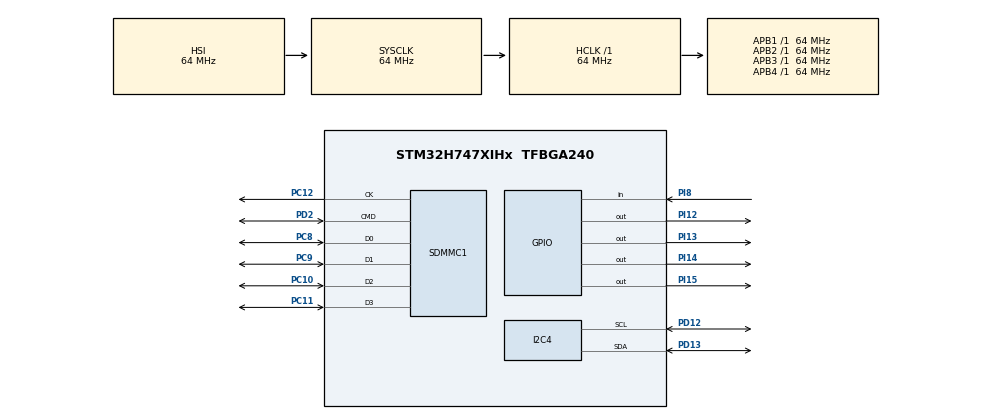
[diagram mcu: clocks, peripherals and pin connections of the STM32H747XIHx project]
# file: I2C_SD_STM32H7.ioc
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CortexM4.IPs=BDMA,DMA,FATFS_M4\:I,FREERTOS_M4\:I,IWDG2\:I,MDMA,NVIC2\:I,RCC,USB_DEVICE_M4\:I,USB_HOST_M4\:I,WWDG2\:I,ADC1\:I,DCMI\:I,TIM3\:I,DEBUG,PDM2PCM_M4\:I,PWR,RESMGR_UTILITY,SYS_M4\:I,CORTEX_M4\:I,OPENAMP_M4\:I,VREFBUF
CortexM4.Pins=PI12,PI13
CortexM7.IPs=BDMA\:I,DMA\:I,FATFS_M7\:I,FREERTOS_M7\:I,IWDG1\:I,MDMA\:I,NVIC1\:I,RCC\:I,USB_DEVICE_M7\:I,USB_HOST_M7\:I,WWDG1\:I,CORTEX_M7\:I,DEBUG\:I,PDM2PCM_M7\:I,PWR\:I,RESMGR_UTILITY\:I,SYS\:I,OPENAMP_M7\:I,VREFBUF\:I,I2C1\:I,I2C4\:I,I2C2\:I,I2C3\:I,SDMMC1\:I
CortexM7.Pins=PI14,PI15
FATFS.BSP.number=1
FATFS0.BSP.STBoard=false
FATFS0.BSP.api=Unknown
FATFS0.BSP.i2caddr=0
FATFS0.BSP.instance=PI8
FATFS0.BSP.ip=GPIO
FATFS0.BSP.mode=Input
FATFS0.BSP.name=Detect_SDIO
FATFS0.BSP.solution=PI8
FATFS_M7.USE_DMA_CODE_SD=1
I2C4.Speed=50
I2C4.Timing=0x403032CA
Mcu.Family=STM32H7
Mcu.Name=STM32H747XIHx
Mcu.Package=TFBGA240
NVIC1.PriorityGroup=NVIC_PRIORITYGROUP_4
NVIC1.SDMMC1_IRQn=true\:0\:0\:false\:false\:true\:true\:true
NVIC2.PriorityGroup=NVIC_PRIORITYGROUP_4
PC10.Mode=SD_4_bits_Wide_bus
PC10.PinAttribute=CortexM7
PC10.Signal=SDMMC1_D2
PC11.Mode=SD_4_bits_Wide_bus
PC11.PinAttribute=CortexM7
PC11.Signal=SDMMC1_D3
PC12.Mode=SD_4_bits_Wide_bus
PC12.PinAttribute=CortexM7
PC12.Signal=SDMMC1_CK
PC8.Mode=SD_4_bits_Wide_bus
PC8.PinAttribute=CortexM7
PC8.Signal=SDMMC1_D0
PC9.Mode=SD_4_bits_Wide_bus
PC9.PinAttribute=CortexM7
PC9.Signal=SDMMC1_D1
PD12.GPIO_Pu=GPIO_PULLUP
PD12.Mode=I2C
PD12.PinAttribute=CortexM7
PD12.Signal=I2C4_SCL
PD13.GPIO_Pu=GPIO_PULLUP
PD13.Mode=I2C
PD13.PinAttribute=CortexM7
PD13.Signal=I2C4_SDA
PD2.Mode=SD_4_bits_Wide_bus
PD2.PinAttribute=CortexM7
PD2.Signal=SDMMC1_CMD
PH0-OSC_IN\ (PH0).Mode=HSE-External-Oscillator
PH0-OSC_IN\ (PH0).PinAttribute=CortexM7
PH0-OSC_IN\ (PH0).Signal=RCC_OSC_IN
PH1-OSC_OUT\ (PH1).Mode=HSE-External-Oscillator
PH1-OSC_OUT\ (PH1).PinAttribute=CortexM7
PH1-OSC_OUT\ (PH1).Signal=RCC_OSC_OUT
PI12.PinAttribute=CortexM4
PI12.Signal=GPIO_Output
PI13.PinAttribute=CortexM4
PI13.Signal=GPIO_Output
PI14.PinAttribute=CortexM7
PI14.Signal=GPIO_Output
PI15.PinAttribute=CortexM7
PI15.Signal=GPIO_Output
PI8.PinAttribute=Free
PI8.Signal=GPIO_Input
ProjectManager.HeapSize=M4-0x400,M7-0x400
ProjectManager.StackSize=M4-0x800,M7-0x800
ProjectManager.TargetToolchain=STM32CubeIDE
RCC.ADCFreq_Value=75000000
RCC.APB1Freq_Value=64000000
RCC.APB2Freq_Value=64000000
RCC.APB3Freq_Value=64000000
RCC.APB4Freq_Value=64000000
RCC.CortexFreq_Value=64000000
RCC.DIVM1=2
RCC.DIVM2=2
RCC.DIVN1=12
RCC.DIVN2=12
RCC.DIVQ1=1
RCC.DIVR2=1
RCC.HCLKFreq_Value=64000000
RCC.HSE_VALUE=25000000
RCC.PLL2FRACN=0
RCC.PLLFRACN=0
RCC.PLLSourceVirtual=RCC_PLLSOURCE_HSE
RCC.PWR_Regulator_Voltage_Scale=PWR_REGULATOR_VOLTAGE_SCALE1
RCC.SDMMC1CLockSelection=RCC_SDMMCCLKSOURCE_PLL2
RCC.SYSCLKFreq_VALUE=64000000
RCC.SupplySource=PWR_DIRECT_SMPS_SUPPLY
RCC.USBFreq_Value=150000000
VP_FATFS_M7_VS_SDIO.Mode=SDIO
VP_SYS_M4_VS_Systick.Mode=SysTick
board=STM32H747I-DISCO

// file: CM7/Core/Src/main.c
/* USER CODE BEGIN Header */
/**
  ******************************************************************************
  * @file           : main.c
  * @brief          : Main program body
  ******************************************************************************
  * @attention
  *
  * <h2><center>&copy; Copyright (c) 2021 STMicroelectronics.
  * All rights reserved.</center></h2>
  *
  * This software component is licensed by ST under BSD 3-Clause license,
  * the "License"; You may not use this file except in compliance with the
  * License. You may obtain a copy of the License at:
  *                        opensource.org/licenses/BSD-3-Clause
  *
  ******************************************************************************
  */
/* USER CODE END Header */
#include "main.h"
#include "fatfs.h"

/* USER CODE BEGIN PD */

#ifndef HSEM_ID_0
#define HSEM_ID_0 (0U) /* HW semaphore 0*/
#endif
/* USER CODE END PD */

I2C_HandleTypeDef hi2c4;

SD_HandleTypeDef hsd1;

void SystemClock_Config(void);
static void MX_GPIO_Init(void);
static void MX_I2C4_Init(void);
static void MX_SDMMC1_SD_Init(void);

/* USER CODE BEGIN 0 */

uint8_t i2c_conf[2];
uint8_t i2c_data[14];
uint8_t address;

int16_t temp_raw=0;
float temp=0;

int16_t acc_x_raw=0;
int16_t acc_y_raw=0;
int16_t acc_z_raw=0;

float acc_x=0;
float acc_y=0;
float acc_z=0;

int16_t gyro_x_raw=0;
int16_t gyro_y_raw=0;
int16_t gyro_z_raw=0;

float gyro_x=0;
float gyro_y=0;
float gyro_z=0;

char str2[42]=" ";
char str3[4200]=" ";

int size=0;
int i=0;
int j=0;

int iter=0;

void GY_init(void)
{

	 if(HAL_I2C_IsDeviceReady(&hi2c4, 0xD0, 2, 10)==HAL_OK)//check status
	  {
		 //config
		 i2c_conf[0]=0x6B;//register to be written on
		 i2c_conf[1]=0x00;// what we want to write to make it clear (CH) . This makes the MPU-6050 to start
		 HAL_I2C_Master_Transmit(&hi2c4, 0xD0, i2c_conf, 2, 10);
	  }

}

/* USER CODE END 0 */

int main(void)
{
  /* USER CODE BEGIN 1 */

	FRESULT res; /* FatFs function common result code */
	uint32_t byteswritten, bytesread; /* File write/read counts */
	uint8_t rtext[_MAX_SS];/* File read buffer */

  /* USER CODE END 1 */
/* USER CODE BEGIN Boot_Mode_Sequence_0 */
  int32_t timeout;
/* USER CODE END Boot_Mode_Sequence_0 */

/* USER CODE BEGIN Boot_Mode_Sequence_1 */
  /* Wait until CPU2 boots and enters in stop mode or timeout*/
  timeout = 0xFFFF;
  while((__HAL_RCC_GET_FLAG(RCC_FLAG_D2CKRDY) != RESET) && (timeout-- > 0));
  if ( timeout < 0 )
  {
  Error_Handler();
  }
/* USER CODE END Boot_Mode_Sequence_1 */
  /* MCU Configuration--------------------------------------------------------*/

  /* Reset of all peripherals, Initializes the Flash interface and the Systick. */
  HAL_Init();

  /* Configure the system clock */
  SystemClock_Config();
/* USER CODE BEGIN Boot_Mode_Sequence_2 */
/* When system initialization is finished, Cortex-M7 will release Cortex-M4 by means of
HSEM notification */
/*HW semaphore Clock enable*/
__HAL_RCC_HSEM_CLK_ENABLE();
/*Take HSEM */
HAL_HSEM_FastTake(HSEM_ID_0);
/*Release HSEM in order to notify the CPU2(CM4)*/
HAL_HSEM_Release(HSEM_ID_0,0);
/* wait until CPU2 wakes up from stop mode */
timeout = 0xFFFF;
while((__HAL_RCC_GET_FLAG(RCC_FLAG_D2CKRDY) == RESET) && (timeout-- > 0));
if ( timeout < 0 )
{
Error_Handler();
}
/* USER CODE END Boot_Mode_Sequence_2 */

  /* Initialize all configured peripherals */
  MX_GPIO_Init();
  MX_I2C4_Init();
  MX_SDMMC1_SD_Init();
  MX_FATFS_Init();
  /* USER CODE BEGIN 2 */

  GY_init();

  if(f_mount(&SDFatFS, (TCHAR const*)SDPath, 0) == FR_OK)
  {
	  //Formating
	  if(f_mkfs((TCHAR const*)SDPath, FM_ANY, 0, rtext, sizeof(rtext)) == FR_OK)
	  {

		  //Open file for writing (Create)
		  if(f_open(&SDFile, "STM32.TXT", FA_CREATE_ALWAYS | FA_WRITE) == FR_OK)
		  {

  /* USER CODE END 2 */

  /* Infinite loop */
  /* USER CODE BEGIN WHILE */
			  while (i<101)
			  {
    /* USER CODE END WHILE */

    /* USER CODE BEGIN 3 */

				 i2c_data[0]=0x3B; // First of the 14 registers we want data from
				 HAL_I2C_Master_Transmit(&hi2c4, 0xD0, i2c_data, 1, 10);
				 HAL_I2C_Master_Receive(&hi2c4, 0xD1, i2c_data, 14, 10);//Read from all 14 registers

				 acc_x_raw=(int16_t)(i2c_data[0]<<8 |i2c_data[1]); //first 2 values are acc_x_H and acc_x_L
				 acc_y_raw=(int16_t)(i2c_data[2]<<8 |i2c_data[3]); //next 2 values are acc_y_H and acc_y_L
				 acc_z_raw=(int16_t)(i2c_data[4]<<8 |i2c_data[5]); //next 2 values are acc_z_H and acc_z_L

				 temp_raw=(int16_t)(i2c_data[6]<<8 |i2c_data[7]);  //next 2 values are temp_H and temp_L

				 ////////////////////////////////////////////////////////////////////////

				 gyro_x_raw=(int16_t)(i2c_data[8]<<8 |i2c_data[9]);
				 gyro_y_raw=(int16_t)(i2c_data[10]<<8 |i2c_data[11]);
				 gyro_z_raw=(int16_t)(i2c_data[12]<<8 |i2c_data[13]);

				 acc_x=acc_x_raw/16384.0;
				 acc_y=acc_y_raw/16384.0;
				 acc_z=acc_z_raw/16384.0;

				 temp=(temp_raw+12412.0) / 340.0;

				 gyro_x=gyro_x_raw/131.0;
				 gyro_y=gyro_y_raw/131.0;
				 gyro_z=gyro_z_raw/131.0;

				 ////////////////////////////////////////////////////
				 gcvt(temp,5,str2);
				 str2[iter + 5]='|';

				 gcvt(acc_x,5,&str2[iter +6]);
				 str2[iter + 11]='|';

				 gcvt(acc_y,5,&str2[iter + 12]);
				 str2[iter + 17]='|';

				 gcvt(acc_z,5,&str2[iter +18]);
				 str2[iter + 23]='|';

				 gcvt(gyro_x,5,&str2[iter +24]);
				 str2[iter + 29]='|';

				 gcvt(gyro_y,5,&str2[iter +30]);
				 str2[iter + 35]='|';

				 gcvt(gyro_z,5,&str2[iter +36]);
				 str2[iter + 41]='|';

				for (int k=0;k<42;k++)
				{
					str3[size]=str2[k];
					size++;
				}

				if (j==100)
				{
					f_write(&SDFile,str3,sizeof(str3), (void *)&byteswritten);
					j=0;
					size=0;

				}

				//iter=iter+42;
				i=i+1;
				j=j+1;

/*
				 //Who am I register check (0x75)
				 //just a check

				 address=0x75;
				 HAL_I2C_Master_Transmit(&hi2c4, 0xD0, &address, 1, 10);
				 HAL_I2C_Master_Receive(&hi2c4, 0xD1, &address, 1, 10);  //output should be 0x68 or 104

*/

				 HAL_Delay(60);

			  	 }

  	  	  	f_close(&SDFile);
  	 		}
	  }
  f_mount(&SDFatFS, (TCHAR const*)NULL, 0);
  }

  /* USER CODE END 3 */
}

void SystemClock_Config(void)
{
  RCC_OscInitTypeDef RCC_OscInitStruct = {0};
  RCC_ClkInitTypeDef RCC_ClkInitStruct = {0};

  /** Supply configuration update enable
  */
  HAL_PWREx_ConfigSupply(PWR_DIRECT_SMPS_SUPPLY);
  /** Configure the main internal regulator output voltage
  */
  __HAL_PWR_VOLTAGESCALING_CONFIG(PWR_REGULATOR_VOLTAGE_SCALE1);

  while(!__HAL_PWR_GET_FLAG(PWR_FLAG_VOSRDY)) {}
  /** Macro to configure the PLL clock source
  */
  __HAL_RCC_PLL_PLLSOURCE_CONFIG(RCC_PLLSOURCE_HSE);
  /** Initializes the RCC Oscillators according to the specified parameters
  * in the RCC_OscInitTypeDef structure.
  */
  RCC_OscInitStruct.OscillatorType = RCC_OSCILLATORTYPE_HSI|RCC_OSCILLATORTYPE_HSE;
  RCC_OscInitStruct.HSEState = RCC_HSE_ON;
  RCC_OscInitStruct.HSIState = RCC_HSI_DIV1;
  RCC_OscInitStruct.HSICalibrationValue = RCC_HSICALIBRATION_DEFAULT;
  RCC_OscInitStruct.PLL.PLLState = RCC_PLL_NONE;
  RCC_OscInitStruct.PLL.PLLSource = RCC_PLLSOURCE_HSE;
  if (HAL_RCC_OscConfig(&RCC_OscInitStruct) != HAL_OK)
  {
    Error_Handler();
  }
  /** Initializes the CPU, AHB and APB buses clocks
  */
  RCC_ClkInitStruct.ClockType = RCC_CLOCKTYPE_HCLK|RCC_CLOCKTYPE_SYSCLK
                              |RCC_CLOCKTYPE_PCLK1|RCC_CLOCKTYPE_PCLK2
                              |RCC_CLOCKTYPE_D3PCLK1|RCC_CLOCKTYPE_D1PCLK1;
  RCC_ClkInitStruct.SYSCLKSource = RCC_SYSCLKSOURCE_HSI;
  RCC_ClkInitStruct.SYSCLKDivider = RCC_SYSCLK_DIV1;
  RCC_ClkInitStruct.AHBCLKDivider = RCC_HCLK_DIV1;
  RCC_ClkInitStruct.APB3CLKDivider = RCC_APB3_DIV1;
  RCC_ClkInitStruct.APB1CLKDivider = RCC_APB1_DIV1;
  RCC_ClkInitStruct.APB2CLKDivider = RCC_APB2_DIV1;
  RCC_ClkInitStruct.APB4CLKDivider = RCC_APB4_DIV1;

  if (HAL_RCC_ClockConfig(&RCC_ClkInitStruct, FLASH_LATENCY_0) != HAL_OK)
  {
    Error_Handler();
  }
}

static void MX_I2C4_Init(void)
{

  hi2c4.Instance = I2C4;
  hi2c4.Init.Timing = 0x403032CA;
  hi2c4.Init.OwnAddress1 = 0;
  hi2c4.Init.AddressingMode = I2C_ADDRESSINGMODE_7BIT;
  hi2c4.Init.DualAddressMode = I2C_DUALADDRESS_DISABLE;
  hi2c4.Init.OwnAddress2 = 0;
  hi2c4.Init.OwnAddress2Masks = I2C_OA2_NOMASK;
  hi2c4.Init.GeneralCallMode = I2C_GENERALCALL_DISABLE;
  hi2c4.Init.NoStretchMode = I2C_NOSTRETCH_DISABLE;
  if (HAL_I2C_Init(&hi2c4) != HAL_OK)
  {
    Error_Handler();
  }
  /** Configure Analogue filter
  */
  if (HAL_I2CEx_ConfigAnalogFilter(&hi2c4, I2C_ANALOGFILTER_ENABLE) != HAL_OK)
  {
    Error_Handler();
  }
  /** Configure Digital filter
  */
  if (HAL_I2CEx_ConfigDigitalFilter(&hi2c4, 0) != HAL_OK)
  {
    Error_Handler();
  }

}

static void MX_SDMMC1_SD_Init(void)
{

  hsd1.Instance = SDMMC1;
  hsd1.Init.ClockEdge = SDMMC_CLOCK_EDGE_RISING;
  hsd1.Init.ClockPowerSave = SDMMC_CLOCK_POWER_SAVE_DISABLE;
  hsd1.Init.BusWide = SDMMC_BUS_WIDE_4B;
  hsd1.Init.HardwareFlowControl = SDMMC_HARDWARE_FLOW_CONTROL_DISABLE;
  hsd1.Init.ClockDiv = 0;
  if (HAL_SD_Init(&hsd1) != HAL_OK)
  {
    Error_Handler();
  }

}

static void MX_GPIO_Init(void)
{
  GPIO_InitTypeDef GPIO_InitStruct = {0};

  /* GPIO Ports Clock Enable */
  __HAL_RCC_GPIOC_CLK_ENABLE();
  __HAL_RCC_GPIOD_CLK_ENABLE();
  __HAL_RCC_GPIOI_CLK_ENABLE();
  __HAL_RCC_GPIOH_CLK_ENABLE();

  /*Configure GPIO pin Output Level */
  HAL_GPIO_WritePin(GPIOI, GPIO_PIN_14|GPIO_PIN_15, GPIO_PIN_RESET);

  /*Configure GPIO pin : PI8 */
  GPIO_InitStruct.Pin = GPIO_PIN_8;
  GPIO_InitStruct.Mode = GPIO_MODE_INPUT;
  GPIO_InitStruct.Pull = GPIO_NOPULL;
  HAL_GPIO_Init(GPIOI, &GPIO_InitStruct);

  /*Configure GPIO pins : PI14 PI15 */
  GPIO_InitStruct.Pin = GPIO_PIN_14|GPIO_PIN_15;
  GPIO_InitStruct.Mode = GPIO_MODE_OUTPUT_PP;
  GPIO_InitStruct.Pull = GPIO_NOPULL;
  GPIO_InitStruct.Speed = GPIO_SPEED_FREQ_LOW;
  HAL_GPIO_Init(GPIOI, &GPIO_InitStruct);

}

void Error_Handler(void)
{
  __disable_irq();
  while (1)
  {
  }
}

/************************ (C) COPYRIGHT STMicroelectronics *****END OF FILE****/
